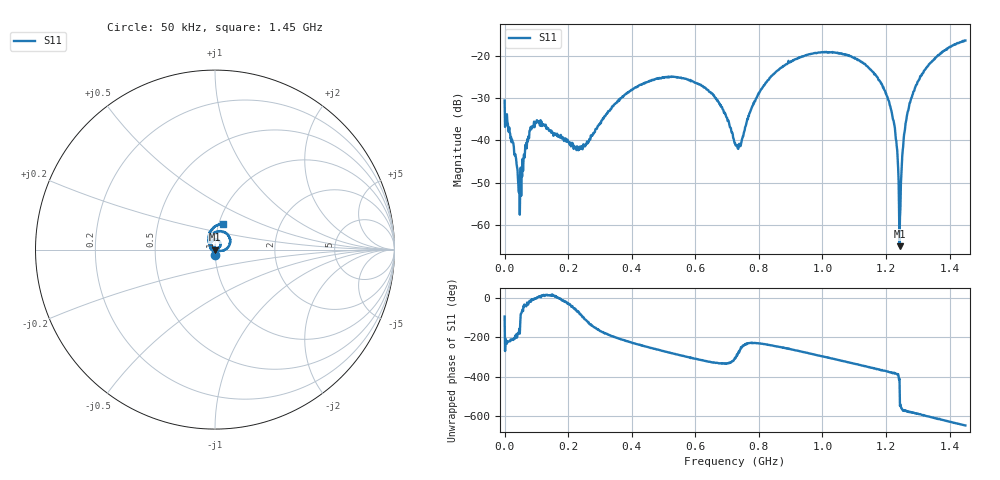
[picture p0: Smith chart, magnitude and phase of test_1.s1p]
! Created with skrf 1.11.0 (http://scikit-rf.org).
# Hz S RI R 50.0
!freq ReS11 ImS11
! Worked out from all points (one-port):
!   1001 points, 50 kHz to 1.45 GHz, reference 50 ohm
!   lowest |S11| = -65.1 dB at 1.243 GHz (marker M1), VSWR 1.00, Z = 50 - j0.0427 ohm
!   |S11| at or under -10 dB: start of sweep to end of sweep
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50000  -0.00189 -0.0295
4.789835e7  -0.00131 1e-05
7.25475e7  0.0086 -0.00436
9.429675e7  0.0143 -0.000115
1.812938e8  0.0105 -0.00229
2.479914e8  -0.00121 -0.00889
3.625375e8  -0.0274 0.0139
4.582342e8  -0.0154 0.0484
5.437812e8  0.0161 0.0532
6.554274e8  0.0296 0.0191
6.989259e8  0.0166 0.00825
7.25025e8  0.00507 0.00777
7.409744e8  -0.00128 0.00844
7.757732e8  -0.0158 0.0171
8.149219e8  -0.026 0.0354
9.062688e8  -0.0128 0.086
1.087512e9  0.0846 0.0512
1.16146e9  0.063 0.00407
1.203508e9  0.0325 -0.00728
1.228158e9  0.0127 -0.00575
1.238307e9  0.00427 -0.00213
1.242657e9  0.000359 -0.000427
1.248457e9  -0.00368 0.00138
1.257157e9  -0.00984 0.00644
1.268756e9  -0.0172 0.0137
1.293405e9  -0.0301 0.0314
1.332554e9  -0.0363 0.0671
1.45e9  0.0464 0.1446
